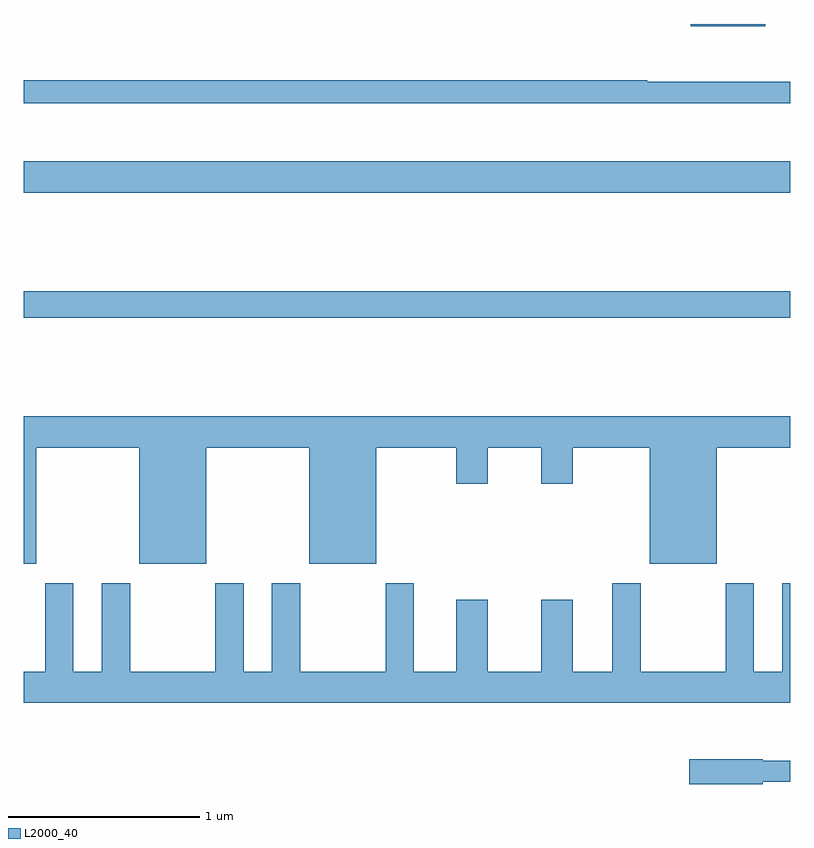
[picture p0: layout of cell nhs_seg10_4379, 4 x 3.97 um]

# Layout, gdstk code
import gdstk
lib = gdstk.Library(unit=1e-6, precision=1e-09)
def R(c, l, rs):  # rectangles x0, y0, x1, y1
    for r in rs: c.add(gdstk.rectangle(r[:2], r[2:], *l))
def P(c, l, *ps):  # polygons
    for p in ps: c.add(gdstk.Polygon(p, *l))
L2000_40 = (2000, 40)

nhs_seg10_4379 = lib.new_cell('nhs_seg10_4379')
R(nhs_seg10_4379, L2000_40, [(357,1328.968,361,1329.104), (357,1329.62,361,1329.784), (360.482,1330.487,360.871,1330.5)])
P(nhs_seg10_4379, L2000_40, [(361,1330.199),(360.255,1330.199),(360.255,1330.207),(357,1330.207),(357,1330.086),(361,1330.086)],
  [(357.064,1328.288),(357.602,1328.288),(357.602,1327.682),(357.952,1327.682),(357.952,1328.288),(358.49,1328.288),(358.49,1327.682),(358.84,1327.682),(358.84,1328.288),(359.258,1328.288),(359.258,1328.1),(359.422,1328.1),(359.422,1328.288),(359.702,1328.288),(359.702,1328.1),(359.866,1328.1),(359.866,1328.288),(360.266,1328.288),(360.266,1327.682),(360.616,1327.682),(360.616,1328.288),(361,1328.288),(361,1328.452),(357,1328.452),(357,1327.682),(357.064,1327.682)],
  [(361,1327.582),(360.959,1327.582),(360.959,1327.12),(360.811,1327.12),(360.811,1327.582),(360.664,1327.582),(360.664,1327.12),(360.219,1327.12),(360.219,1327.582),(360.071,1327.582),(360.071,1327.12),(359.866,1327.12),(359.866,1327.495),(359.702,1327.495),(359.702,1327.12),(359.422,1327.12),(359.422,1327.495),(359.258,1327.495),(359.258,1327.12),(359.035,1327.12),(359.035,1327.582),(358.888,1327.582),(358.888,1327.12),(358.443,1327.12),(358.443,1327.582),(358.295,1327.582),(358.295,1327.12),(358.147,1327.12),(358.147,1327.582),(358,1327.582),(358,1327.12),(357.555,1327.12),(357.555,1327.582),(357.407,1327.582),(357.407,1327.12),(357.259,1327.12),(357.259,1327.582),(357.112,1327.582),(357.112,1327.12),(357,1327.12),(357,1326.956),(361,1326.956)],
  [(360.858,1326.546),(361,1326.546),(361,1326.655),(360.858,1326.655),(360.858,1326.663),(360.474,1326.663),(360.474,1326.533),(360.858,1326.533)])

lib.write_gds('nhs_seg10_4379.gds')
